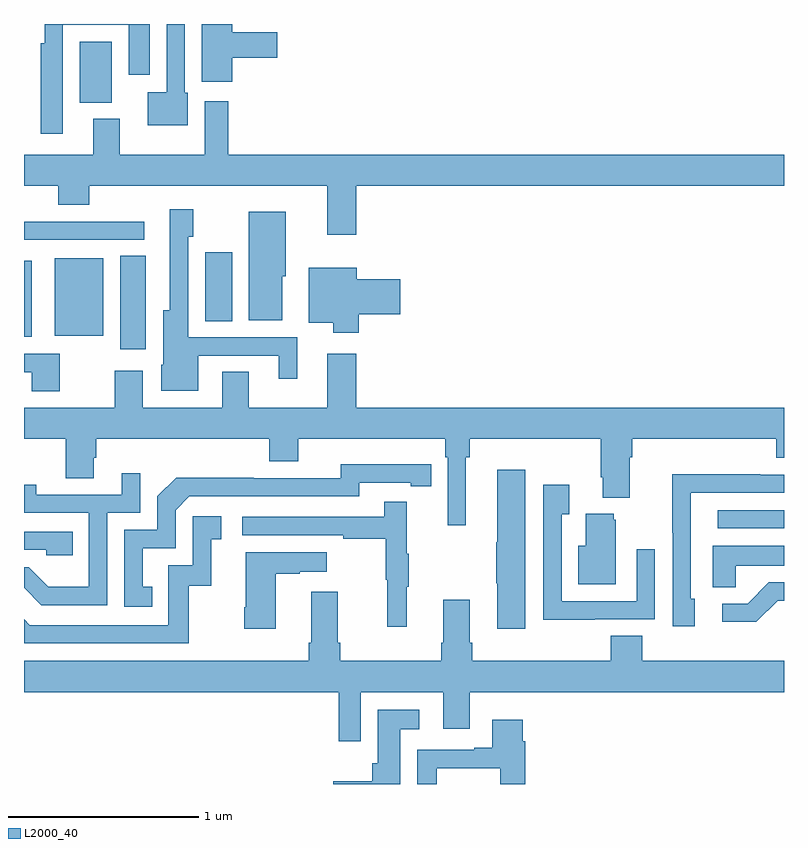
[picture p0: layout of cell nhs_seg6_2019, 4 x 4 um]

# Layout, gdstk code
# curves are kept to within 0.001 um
import gdstk
lib = gdstk.Library(unit=1e-6, precision=1e-09)
def R(c, l, rs):  # rectangles x0, y0, x1, y1
    for r in rs: c.add(gdstk.rectangle(r[:2], r[2:], *l))
def P(c, l, *ps):  # polygons
    for p in ps: c.add(gdstk.Polygon(p, *l))
L2000_40 = (2000, 40)

nhs_seg6_2019 = lib.new_cell('nhs_seg6_2019')
R(nhs_seg6_2019, L2000_40, [(234.651,966.846,235,966.942), (231.506,967.788,231.64,968.279), (231,967.853,231.04,968.254), (231.161,967.859,231.418,968.266), (231.953,967.936,232.096,968.299), (231,968.364,231.634,968.46), (231.293,969.086,231.463,969.406)])
P(nhs_seg6_2019, L2000_40, [(231.204,969.495),(231.551,969.495),(231.551,969.234),(231.661,969.234),(231.661,969.5),(231.108,969.5),(231.108,969.398),(231.088,969.398),(231.088,968.922),(231.204,968.922)],
  [(231.862,969.138),(231.846,969.138),(231.846,969.5),(231.75,969.5),(231.75,969.142),(231.65,969.142),(231.65,968.966),(231.862,968.966)],
  [(232.097,969.323),(232.333,969.323),(232.333,969.457),(232.097,969.457),(232.097,969.5),(231.935,969.5),(231.935,969.195),(232.097,969.195)],
  [(232.748,968.648),(235,968.648),(235,968.812),(232.076,968.812),(232.076,969.094),(231.95,969.094),(231.95,968.812),(231.505,968.812),(231.505,969.001),(231.365,969.001),(231.365,968.812),(231,968.812),(231,968.648),(231.179,968.648),(231.179,968.549),(231.344,968.549),(231.344,968.648),(232.595,968.648),(232.595,968.391),(232.748,968.391)],
  [(231.916,967.755),(232.34,967.755),(232.34,967.632),(232.438,967.632),(232.438,967.851),(231.864,967.851),(231.864,968.379),(231.891,968.379),(231.891,968.524),(231.768,968.524),(231.768,967.993),(231.734,967.993),(231.734,967.707),(231.722,967.707),(231.722,967.571),(231.916,967.571)],
  [(232.36,968.172),(232.378,968.172),(232.378,968.512),(232.184,968.512),(232.184,967.94),(232.36,967.94)],
  [(232.763,967.973),(232.981,967.973),(232.981,968.156),(232.75,968.156),(232.75,968.218),(232.499,968.218),(232.499,967.928),(232.628,967.928),(232.628,967.874),(232.763,967.874)],
  [(233.326,967.22),(233.345,967.22),(233.345,967.316),(234.035,967.316),(234.035,967.114),(234.047,967.114),(234.047,967.007),(234.187,967.007),(234.187,967.22),(234.2,967.22),(234.2,967.316),(234.959,967.316),(234.959,967.217),(235,967.217),(235,967.48),(232.748,967.48),(232.748,967.765),(232.595,967.765),(232.595,967.48),(232.183,967.48),(232.183,967.67),(232.043,967.67),(232.043,967.48),(231.625,967.48),(231.625,967.675),(231.478,967.675),(231.478,967.48),(231,967.48),(231,967.316),(231.22,967.316),(231.22,967.108),(231.367,967.108),(231.367,967.218),(231.38,967.218),(231.38,967.316),(232.292,967.316),(232.292,967.199),(232.444,967.199),(232.444,967.316),(233.216,967.316),(233.216,967.22),(233.229,967.22),(233.229,966.861),(233.326,966.861)],
  [(231.189,967.764),(231,967.764),(231,967.668),(231.041,967.668),(231.041,967.566),(231.189,967.566)],
  [(231.674,966.537),(231.625,966.537),(231.625,966.741),(231.798,966.741),(231.798,966.942),(231.87,967.014),(232.764,967.014),(232.764,967.086),(233.036,967.086),(233.036,967.066),(233.144,967.066),(233.144,967.182),(232.668,967.183),(232.668,967.11),(232.208,967.11),(232.208,967.112),(231.8,967.112),(231.702,967.014),(231.702,966.837),(231.528,966.837),(231.528,966.432),(231.674,966.432)],
  [(233.638,967.153),(233.492,967.153),(233.492,966.773),(233.485,966.773),(233.485,966.556),(233.492,966.556),(233.492,966.318),(233.638,966.318)],
  [(231.438,966.927),(231.612,966.927),(231.612,967.135),(231.515,967.135),(231.515,967.023),(231.064,967.023),(231.064,967.075),(231,967.075),(231,966.927),(231.342,966.927),(231.342,966.538),(231.128,966.538),(231.024,966.642),(231,966.642),(231,966.533),(231.092,966.441),(231.438,966.441)],
  [(234.529,966.474),(234.51,966.474),(234.51,967.032),(235,967.032),(235,967.128),(234.875,967.128),(234.875,967.13),(234.412,967.13),(234.412,966.823),(234.414,966.823),(234.414,966.33),(234.529,966.33)],
  [(234.005,966.366),(234.321,966.366),(234.321,966.736),(234.225,966.736),(234.225,966.462),(233.829,966.462),(233.829,966.919),(233.869,966.919),(233.869,967.075),(233.733,967.075),(233.733,966.365),(234.005,966.365)],
  [(233.015,966.539),(233.026,966.539),(233.026,966.713),(233.015,966.713),(233.015,966.985),(232.897,966.985),(232.897,966.906),(232.149,966.906),(232.149,966.81),(232.681,966.81),(232.681,966.79),(232.905,966.79),(232.905,966.576),(232.912,966.576),(232.912,966.327),(233.015,966.327)],
  [(234.115,966.891),(234.104,966.891),(234.104,966.922),(233.957,966.922),(233.957,966.754),(233.918,966.754),(233.918,966.551),(234.115,966.551)],
  [(231.868,966.543),(231.986,966.543),(231.986,966.789),(232.039,966.789),(232.039,966.91),(231.888,966.91),(231.888,966.651),(231.759,966.651),(231.759,966.336),(231.03,966.336),(231,966.366),(231,966.24),(231.868,966.24)],
  [(231.257,966.828),(231,966.828),(231,966.732),(231.117,966.732),(231.117,966.705),(231.257,966.705)],
  [(234.747,966.65),(235,966.65),(235,966.754),(234.626,966.754),(234.626,966.535),(234.747,966.535)],
  [(232.324,966.607),(232.451,966.607),(232.451,966.617),(232.594,966.617),(232.594,966.721),(232.166,966.721),(232.166,966.43),(232.159,966.43),(232.159,966.318),(232.324,966.318)],
  [(234.966,966.465),(235,966.465),(235,966.561),(234.92,966.561),(234.809,966.45),(234.675,966.45),(234.675,966.353),(234.853,966.353)],
  [(232.773,965.984),(233.207,965.984),(233.207,965.79),(233.347,965.79),(233.347,965.984),(235,965.984),(235,966.148),(234.254,966.148),(234.254,966.281),(234.089,966.281),(234.089,966.148),(233.36,966.148),(233.36,966.244),(233.347,966.244),(233.347,966.469),(233.207,966.469),(233.207,966.244),(233.195,966.244),(233.195,966.148),(232.664,966.148),(232.664,966.244),(232.651,966.244),(232.651,966.511),(232.511,966.511),(232.511,966.244),(232.499,966.244),(232.499,966.148),(231,966.148),(231,965.984),(232.657,965.984),(232.657,965.724),(232.773,965.724)],
  [(232.981,965.789),(233.08,965.789),(233.08,965.89),(232.862,965.89),(232.862,965.61),(232.832,965.61),(232.832,965.515),(232.628,965.515),(232.628,965.5),(232.981,965.5)],
  [(233.173,965.583),(233.507,965.583),(233.507,965.5),(233.639,965.5),(233.639,965.726),(233.626,965.726),(233.626,965.839),(233.465,965.839),(233.465,965.692),(233.369,965.692),(233.369,965.679),(233.069,965.679),(233.069,965.5),(233.173,965.5)])

lib.write_gds('nhs_seg6_2019.gds')
